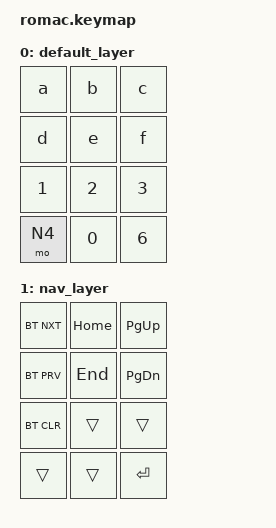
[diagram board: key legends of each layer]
/*
 * Copyright (c) 2020 The ZMK Contributors
 *
 * SPDX-License-Identifier: MIT
 */

#include <behaviors.dtsi>
#include <dt-bindings/zmk/keys.h>
#include <dt-bindings/zmk/bt.h>

/ {
    keymap {
        compatible = "zmk,keymap";

        default_layer {
// -------------------
// | 7      |  8  |  9  |
// | 4      |  5  |  6  |
// | 1      |  2  |  3  |
// | MO(1)  |  0  |  .  |
// ----------------------
            bindings = <
    &kp a &kp b &kp c
    &kp d &kp e &kp f
    &kp N1 &kp N2 &kp N3
    &mo N4  &kp N0 &kp N6
            >;
        };

        nav_layer {
// -----------------------
// | BTNXT |  HOME  |  PGUP  |
// | BTPRV |  END   |  PGDN  |
// | BTCLR |  _     |  _     |
// | _     |  _     |  RET   |
// -----------------------
            bindings = <
    &bt BT_NXT &kp HOME &kp PG_UP
    &bt BT_PRV &kp END  &kp PG_DN
    &bt BT_CLR &trans   &trans
    &trans     &trans   &kp RET
            >;
        };
    };
};

